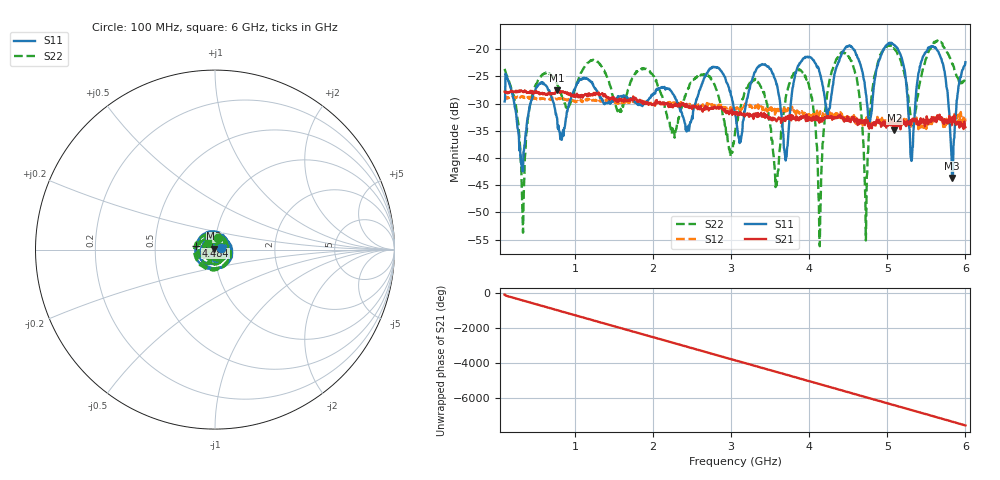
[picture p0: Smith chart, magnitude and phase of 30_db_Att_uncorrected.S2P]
!Created with skrf (http://scikit-rf.org).
# MHz S RI R 50.0
!freq ReS11 ImS11 ReS21 ImS21 ReS12 ImS12 ReS22 ImS22
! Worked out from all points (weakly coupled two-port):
!   1001 points, 100 MHz to 6 GHz, reference 50 ohm
!   highest |S21| = -27.54 dB at 772.6 MHz (marker M1); lowest = -34.9 dB at 5.091 GHz (marker M2)
!   lowest |S11| = -43.7 dB at 5.829 GHz (marker M3), VSWR 1.01, Z = 49.6 + j0.522 ohm
!   |S11| at or under -10 dB: start of sweep to end of sweep
!   |S22| runs from -56.2 to -18.4 dB; largest |S21 - S12| = 0.029
!   S11 on the Smith chart (normalised r, x): 100 MHz: 1.06, +0.02; 4.484 GHz: 0.81, +0.04; 6 GHz: 1.04, +0.15
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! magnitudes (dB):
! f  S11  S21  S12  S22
! 100 MHz  -29.6  -27.8  -29.0  -23.6
! 336 MHz  -42.4  -27.9  -28.9  -53.7
! 471.7 MHz  -28.1  -27.8  -29.1  -27.6
! 772.6 MHz  -32.7  -27.5  -29.1  -26.4
! 1.085 GHz  -25.4  -28.4  -29.7  -24.2
! 2.071 GHz  -27.4  -29.8  -29.8  -27.0
! 3.05 GHz  -31.7  -32.0  -31.0  -35.4
! 3.339 GHz  -23.3  -31.9  -30.9  -26.0
! 3.581 GHz  -26.5  -33.3  -31.0  -45.1
! 3.705 GHz  -39.7  -32.6  -31.2  -28.5
! 4.035 GHz  -21.7  -33.0  -31.8  -28.9
! 4.136 GHz  -24.3  -33.1  -32.0  -56.2
! 4.26 GHz  -30.9  -32.4  -31.5  -25.8
! 4.484 GHz  -19.5  -33.2  -32.3  -21.0
! 4.726 GHz  -28.2  -33.5  -33.4  -55.2
! 4.832 GHz  -26.4  -33.7  -33.5  -25.2
! 5.021 GHz  -19.0  -33.6  -33.0  -19.4
! 5.091 GHz  -19.2  -34.9  -33.6  -20.0
! 5.31 GHz  -40.5  -33.4  -33.4  -34.1
! 5.646 GHz  -20.3  -32.8  -32.3  -18.5
! 5.829 GHz  -43.7  -33.9  -33.7  -22.6
! 6 GHz  -22.4  -34.4  -33.3  -25.5
